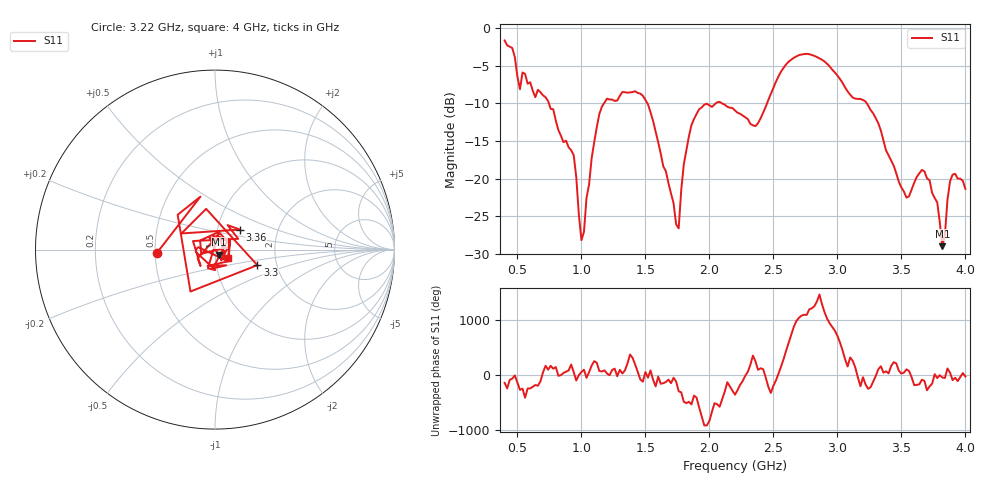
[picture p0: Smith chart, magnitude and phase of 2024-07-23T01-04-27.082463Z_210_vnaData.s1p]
!Created with skrf (http://scikit-rf.org).
# Hz S RI R 50.0
!freq ReS11 ImS11
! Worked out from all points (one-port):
!   181 points, 400 MHz to 4 GHz, reference 50 ohm
!   lowest |S11| = -29.0 dB at 3.82 GHz (marker M1), VSWR 1.07, Z = 52.2 - j2.86 ohm
!   |S11| at or under -10 dB: 745.5 MHz to 1.177 GHz (431.6 MHz wide, 44.9 % of centre); 1.515 GHz to 2.051 GHz (536.1 MHz wide, 30.1 % of centre); 3.229 GHz to end of sweep (the widest 3 of 4)
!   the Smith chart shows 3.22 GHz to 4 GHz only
!   S11 on the Smith chart (normalised r, x): 3.22 GHz: 0.51, -0.02; 3.3 GHz: 1.58, -0.29; 3.36 GHz: 1.28, +0.30; 4 GHz: 1.15, -0.10
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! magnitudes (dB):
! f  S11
! 400 MHz  -1.7
! 460 MHz  -2.7
! 520 MHz  -8.1
! 540 MHz  -5.9
! 720 MHz  -9.2
! 860 MHz  -15.2
! 940 MHz  -16.9
! 1 GHz  -28.2
! 1.14 GHz  -11.4
! 1.3 GHz  -9.0
! 1.52 GHz  -10.1
! 1.76 GHz  -26.6
! 1.8 GHz  -18.1
! 1.88 GHz  -12.1
! 2.2 GHz  -11.0
! 2.36 GHz  -13.0
! 2.66 GHz  -4.0
! 2.88 GHz  -4.2
! 3.1 GHz  -8.9
! 3.22 GHz  -9.8
! 3.3 GHz  -12.0
! 3.36 GHz  -15.0
! 3.56 GHz  -22.4
! 3.68 GHz  -19.1
! 3.78 GHz  -23.2
! 3.82 GHz  -29.0
! 3.9 GHz  -19.5
! 4 GHz  -21.4
